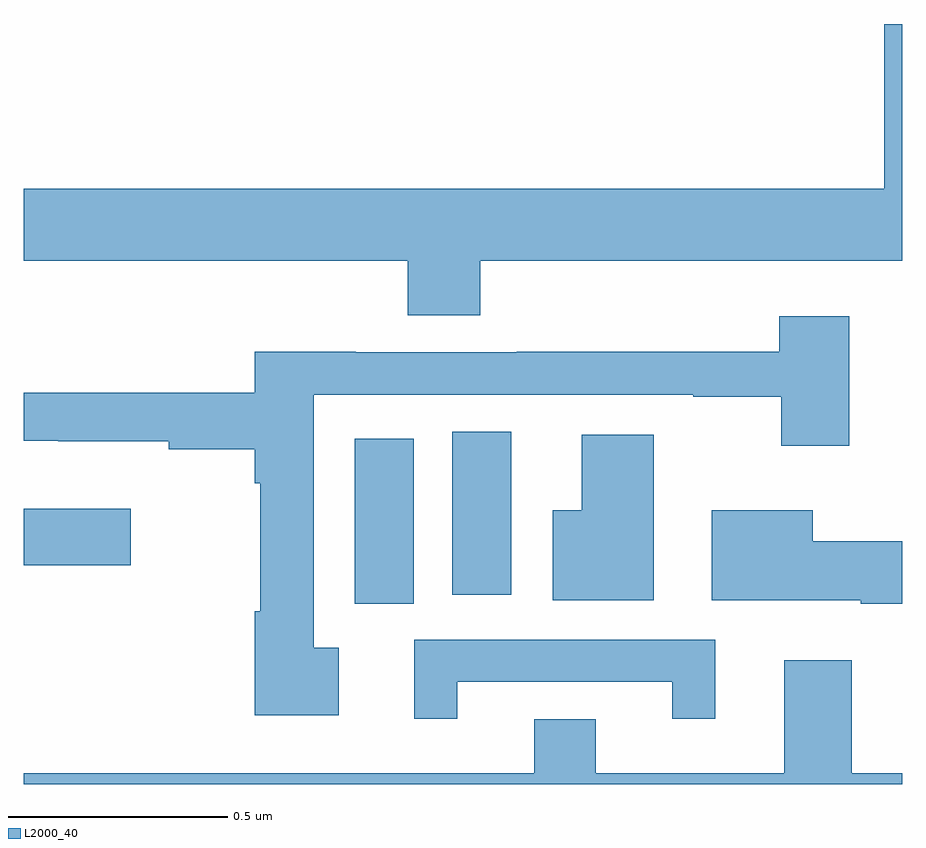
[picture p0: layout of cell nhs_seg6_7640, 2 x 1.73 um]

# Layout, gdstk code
import gdstk
lib = gdstk.Library(unit=1e-6, precision=1e-09)
def R(c, l, rs):  # rectangles x0, y0, x1, y1
    for r in rs: c.add(gdstk.rectangle(r[:2], r[2:], *l))
def P(c, l, *ps):  # polygons
    for p in ps: c.add(gdstk.Polygon(p, *l))
L2000_40 = (2000, 40)

nhs_seg6_7640 = lib.new_cell('nhs_seg6_7640')
R(nhs_seg6_7640, L2000_40, [(211.754,923.91,211.888,924.286), (211.976,923.931,212.11,924.302), (211,923.998,211.243,924.127)])
P(nhs_seg6_7640, L2000_40, [(212.039,924.692),(213,924.692),(213,925.231),(212.96,925.231),(212.96,924.856),(211,924.856),(211,924.692),(211.874,924.692),(211.874,924.568),(212.039,924.568)],
  [(211.717,923.81),(211.66,923.81),(211.66,924.387),(212.524,924.387),(212.524,924.382),(212.725,924.382),(212.725,924.27),(212.88,924.27),(212.88,924.565),(212.72,924.565),(212.72,924.485),(212.122,924.485),(212.122,924.483),(211.756,924.483),(211.756,924.485),(211.526,924.485),(211.526,924.391),(211,924.391),(211,924.282),(211.078,924.282),(211.078,924.281),(211.33,924.281),(211.33,924.262),(211.526,924.262),(211.526,924.185),(211.538,924.185),(211.538,923.893),(211.526,923.893),(211.526,923.657),(211.717,923.657)],
  [(212.434,924.295),(212.27,924.295),(212.27,924.124),(212.204,924.124),(212.204,923.918),(212.434,923.918)],
  [(213,924.053),(212.797,924.053),(212.797,924.124),(212.567,924.124),(212.567,923.918),(212.906,923.918),(212.906,923.911),(213,923.911)],
  [(211.987,923.733),(212.477,923.733),(212.477,923.649),(212.575,923.649),(212.575,923.829),(211.889,923.829),(211.889,923.649),(211.987,923.649)],
  [(213,923.524),(212.885,923.524),(212.885,923.782),(212.732,923.782),(212.732,923.524),(212.302,923.524),(212.302,923.648),(212.162,923.648),(212.162,923.524),(211,923.524),(211,923.5),(213,923.5)])

lib.write_gds('nhs_seg6_7640.gds')
